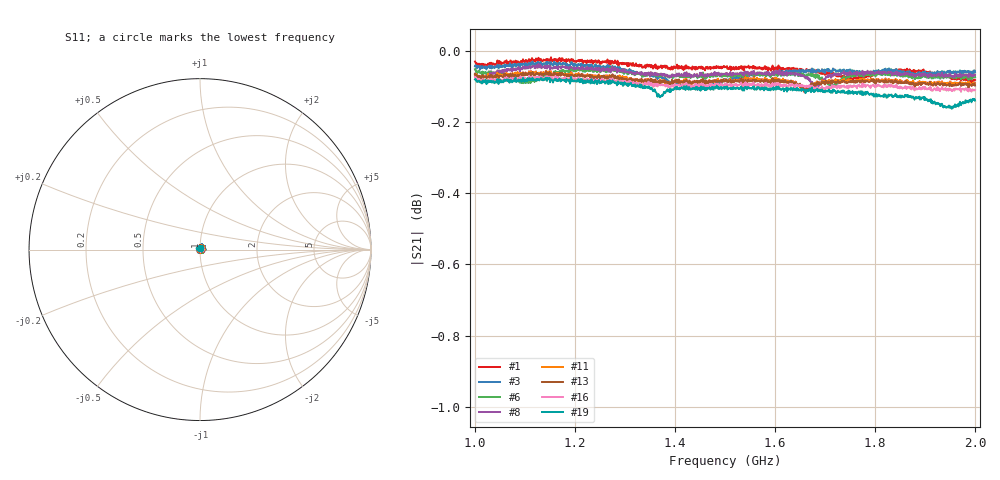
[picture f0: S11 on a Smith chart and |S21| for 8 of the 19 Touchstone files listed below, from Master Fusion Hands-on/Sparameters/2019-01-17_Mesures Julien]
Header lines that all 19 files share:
#  HZ  S  DB  R  50.00
! Rohde & Schwarz Vector Network Analyzer
! Rohde-Schwarz,ZNB8-4Port,1311601044102961,2.82
! freq[Hz]  db:S11  ang:S11  db:S21  ang:S21  db:S12  ang:S12  db:S22  ang:S22
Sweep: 1 GHz to 2 GHz
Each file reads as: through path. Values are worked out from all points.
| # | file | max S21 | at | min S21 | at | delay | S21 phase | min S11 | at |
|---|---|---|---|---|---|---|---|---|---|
| 1 | Narda_phase-shifter_3752_model2_1-2GHz_000.s2p | -0.02 dB | 1.152 GHz | -0.1 dB | 1.993 GHz | 1.37 ns | -19 deg at 1.5 GHz | -51.6 dB | 1.051 GHz |
| 2 | Narda_phase-shifter_3752_model2_1-2GHz_010.s2p | -0.03 dB | 1.096 GHz | -0.1 dB | 1.615 GHz | 1.4 ns | -34 deg at 1.5 GHz | -54.7 dB | 1.04 GHz |
| 3 | Narda_phase-shifter_3752_model2_1-2GHz_020.s2p | -0.03 dB | 1.115 GHz | -0.1 dB | 1.46 GHz | 1.42 ns | -49 deg at 1.5 GHz | -59.2 dB | 1.04 GHz |
| 4 | Narda_phase-shifter_3752_model2_1-2GHz_030.s2p | -0.04 dB | 1.096 GHz | -0.1 dB | 1.321 GHz | 1.45 ns | -64 deg at 1.5 GHz | -61.2 dB | 1.04 GHz |
| 5 | Narda_phase-shifter_3752_model2_1-2GHz_040.s2p | -0.04 dB | 1.115 GHz | -0.1 dB | 1.19 GHz | 1.48 ns | -79 deg at 1.5 GHz | -67.7 dB | 1.038 GHz |
| 6 | Narda_phase-shifter_3752_model2_1-2GHz_050.s2p | -0.05 dB | 1.275 GHz | -0.1 dB | 1.712 GHz | 1.51 ns | -94 deg at 1.5 GHz | -67.7 dB | 1.071 GHz |
| 7 | Narda_phase-shifter_3752_model2_1-2GHz_060.s2p | -0.04 dB | 1.149 GHz | -0.1 dB | 1.697 GHz | 1.54 ns | -109 deg at 1.5 GHz | -63.1 dB | 1.018 GHz |
| 8 | Narda_phase-shifter_3752_model2_1-2GHz_070.s2p | -0.04 dB | 1.127 GHz | -0.1 dB | 1.683 GHz | 1.56 ns | -124 deg at 1.5 GHz | -55.0 dB | 1.041 GHz |
| 9 | Narda_phase-shifter_3752_model2_1-2GHz_080.s2p | -0.04 dB | 1.145 GHz | -0.1 dB | 1.672 GHz | 1.59 ns | -139 deg at 1.5 GHz | -55.4 dB | 1.034 GHz |
| 10 | Narda_phase-shifter_3752_model2_1-2GHz_090.s2p | -0.04 dB | 1.109 GHz | -0.1 dB | 1.661 GHz | 1.62 ns | -155 deg at 1.5 GHz | -67.0 dB | 1.99 GHz |
| 11 | Narda_phase-shifter_3752_model2_1-2GHz_100.s2p | -0.06 dB | 1.112 GHz | -0.1 dB | 1.659 GHz | 1.65 ns | -170 deg at 1.5 GHz | -64.5 dB | 1.989 GHz |
| 12 | Narda_phase-shifter_3752_model2_1-2GHz_110.s2p | -0.06 dB | 1.152 GHz | -0.1 dB | 1.659 GHz | 1.68 ns | 175 deg at 1.5 GHz | -59.3 dB | 1.993 GHz |
| 13 | Narda_phase-shifter_3752_model2_1-2GHz_120.s2p | -0.06 dB | 1.142 GHz | -0.1 dB | 1.661 GHz | 1.7 ns | 160 deg at 1.5 GHz | -65.9 dB | 1.996 GHz |
| 14 | Narda_phase-shifter_3752_model2_1-2GHz_130.s2p | -0.06 dB | 1.131 GHz | -0.1 dB | 1.672 GHz | 1.73 ns | 145 deg at 1.5 GHz | -75.3 dB | 1.993 GHz |
| 15 | Narda_phase-shifter_3752_model2_1-2GHz_140.s2p | -0.07 dB | 1.145 GHz | -0.1 dB | 1.676 GHz | 1.76 ns | 130 deg at 1.5 GHz | -62.0 dB | 1.984 GHz |
| 16 | Narda_phase-shifter_3752_model2_1-2GHz_150.s2p | -0.07 dB | 1.108 GHz | -0.1 dB | 1.972 GHz | 1.79 ns | 115 deg at 1.5 GHz | -69.4 dB | 1.975 GHz |
| 17 | Narda_phase-shifter_3752_model2_1-2GHz_160.s2p | -0.07 dB | 1.109 GHz | -0.1 dB | 1.993 GHz | 1.81 ns | 100 deg at 1.5 GHz | -71.1 dB | 1.967 GHz |
| 18 | Narda_phase-shifter_3752_model2_1-2GHz_170.s2p | -0.08 dB | 1.115 GHz | -0.2 dB | 1.993 GHz | 1.84 ns | 85 deg at 1.5 GHz | -68.3 dB | 1.962 GHz |
| 19 | Narda_phase-shifter_3752_model2_1-2GHz_181.s2p | -0.07 dB | 1.192 GHz | -0.2 dB | 1.953 GHz | 1.87 ns | 69 deg at 1.5 GHz | -72.9 dB | 1.439 GHz |
